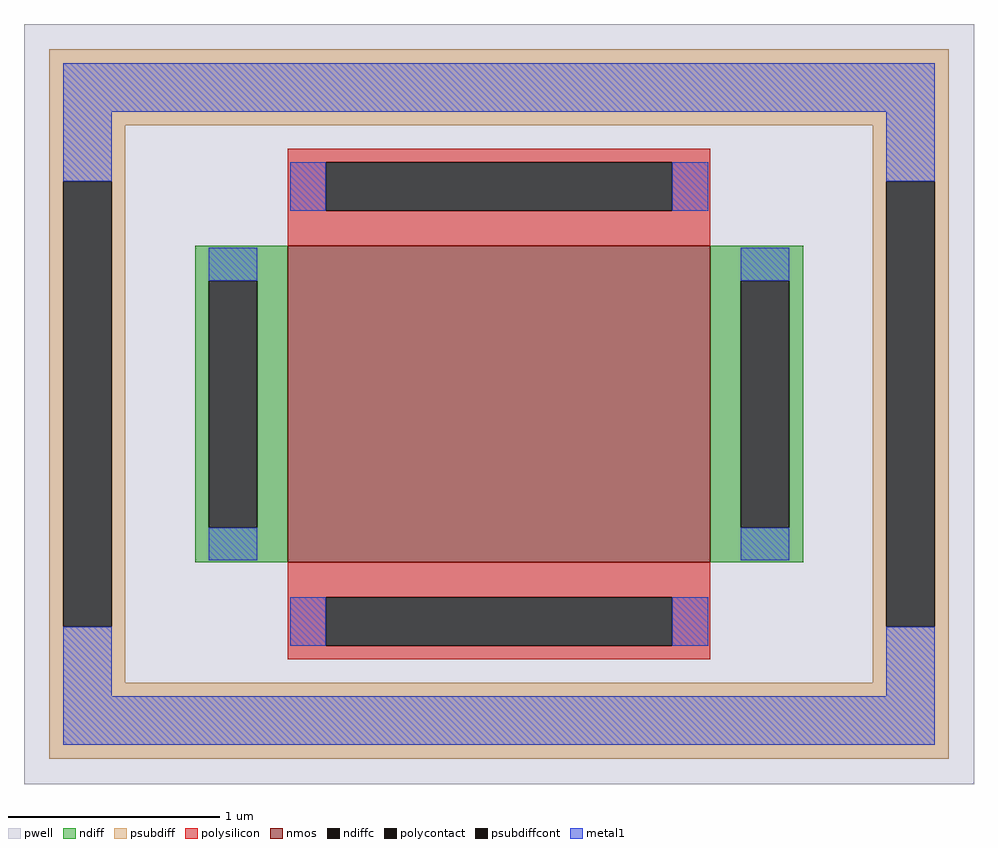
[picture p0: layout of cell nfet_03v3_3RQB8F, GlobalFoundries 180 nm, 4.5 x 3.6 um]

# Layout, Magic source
magic
tech gf180mcuD
magscale 1 10
<< pwell >>
rect -450 -360 450 360
<< nmos >>
rect -200 -150 200 150
<< ndiff >>
rect -288 117 -200 150
rect -288 -117 -275 117
rect -229 -117 -200 117
rect -288 -150 -200 -117
rect 200 117 288 150
rect 200 -117 229 117
rect 275 -117 288 117
rect 200 -150 288 -117
<< ndiffc >>
rect -275 -117 -229 117
rect 229 -117 275 117
<< psubdiff >>
rect -426 264 426 336
rect -426 211 -354 264
rect -426 -211 -413 211
rect -367 -211 -354 211
rect 354 211 426 264
rect -426 -264 -354 -211
rect 354 -211 367 211
rect 413 -211 426 211
rect 354 -264 426 -211
rect -426 -336 426 -264
<< psubdiffcont >>
rect -413 -211 -367 211
rect 367 -211 413 211
<< polysilicon >>
rect -200 229 200 242
rect -200 183 -164 229
rect 164 183 200 229
rect -200 150 200 183
rect -200 -183 200 -150
rect -200 -229 -164 -183
rect 164 -229 200 -183
rect -200 -242 200 -229
<< polycontact >>
rect -164 183 164 229
rect -164 -229 164 -183
<< metal1 >>
rect -413 277 413 323
rect -413 211 -367 277
rect -198 183 -164 229
rect 164 183 198 229
rect 367 211 413 277
rect -275 117 -229 148
rect -275 -148 -229 -117
rect 229 117 275 148
rect 229 -148 275 -117
rect -413 -277 -367 -211
rect -198 -229 -164 -183
rect 164 -229 198 -183
rect 367 -277 413 -211
rect -413 -323 413 -277
<< properties >>
string FIXED_BBOX -390 -300 390 300
<< end >>
